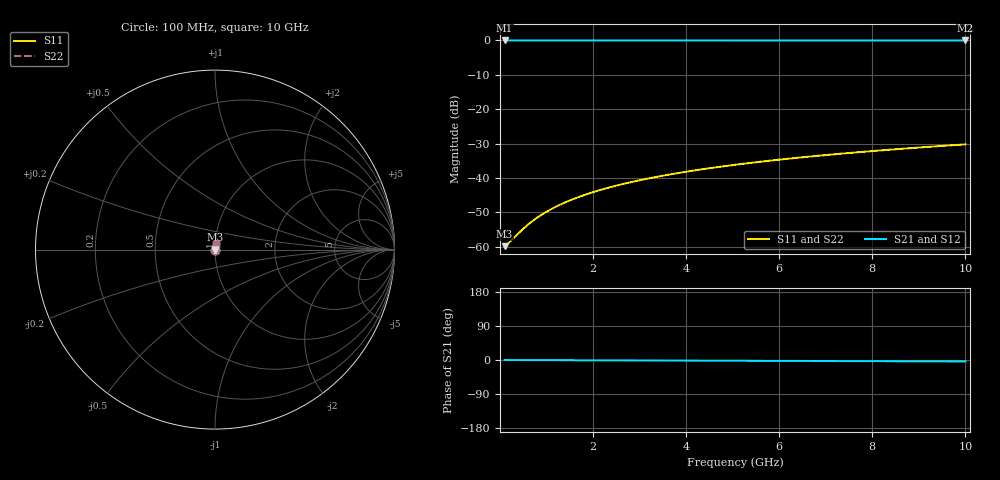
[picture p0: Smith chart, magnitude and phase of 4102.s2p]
# Hz S RI R 50.00
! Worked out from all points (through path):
!   100 points, 100 MHz to 10 GHz, reference 50 ohm
!   highest |S21| = -0.01 dB at 100 MHz (marker M1); lowest = 0.0 dB at 10 GHz (marker M2)
!   lowest |S11| = -59.8 dB at 100 MHz (marker M3), VSWR 1.00, Z = 50.1 + j0.0308 ohm
!   |S11| at or under -10 dB: start of sweep to end of sweep
!   |S22| runs from -59.8 to -30.2 dB; largest |S21 - S12| = 0
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1e8  0.000976 0.000307  0.999 -0.000668  0.999 -0.000668  0.000976 0.000307
2e8  0.000983 0.000614  0.999 -0.00134  0.999 -0.00134  0.000983 0.000614
4e8  0.000994 0.00123  0.999 -0.00267  0.999 -0.00267  0.000994 0.00123
5e8  0.000999 0.00153  0.999 -0.00334  0.999 -0.00334  0.000999 0.00153
6e8  0.001 0.00184  0.999 -0.00401  0.999 -0.00401  0.001 0.00184
7e8  0.00101 0.00215  0.999 -0.00468  0.999 -0.00468  0.00101 0.00215
9e8  0.00102 0.00276  0.999 -0.00601  0.999 -0.00601  0.00102 0.00276
1.1e9  0.00103 0.00338  0.999 -0.00735  0.999 -0.00735  0.00103 0.00338
1.3e9  0.00105 0.00399  0.9989 -0.00868  0.9989 -0.00868  0.00105 0.00399
1.5e9  0.00106 0.0046  0.9989 -0.01  0.9989 -0.01  0.00106 0.0046
1.8e9  0.00108 0.00553  0.9989 -0.012  0.9989 -0.012  0.00108 0.00553
2.1e9  0.00111 0.00645  0.9989 -0.014  0.9989 -0.014  0.00111 0.00645
2.5e9  0.00115 0.00767  0.9988 -0.0167  0.9988 -0.0167  0.00115 0.00767
2.9e9  0.0012 0.0089  0.9987 -0.0194  0.9987 -0.0194  0.0012 0.0089
3.4e9  0.00127 0.0104  0.9986 -0.0227  0.9986 -0.0227  0.00127 0.0104
4.2e9  0.0014 0.0129  0.9985 -0.0281  0.9985 -0.0281  0.0014 0.0129
5.1e9  0.00158 0.0157  0.9982 -0.0341  0.9982 -0.0341  0.00158 0.0157
5.9e9  0.00177 0.0181  0.998 -0.0394  0.998 -0.0394  0.00177 0.0181
6.7e9  0.00199 0.0206  0.9977 -0.0448  0.9977 -0.0448  0.00199 0.0206
7.5e9  0.00223 0.023  0.9974 -0.0502  0.9974 -0.0502  0.00223 0.023
8.4e9  0.00253 0.0258  0.997 -0.0562  0.997 -0.0562  0.00253 0.0258
1e10  0.00315 0.0307  0.9962 -0.0669  0.9962 -0.0669  0.00315 0.0307
